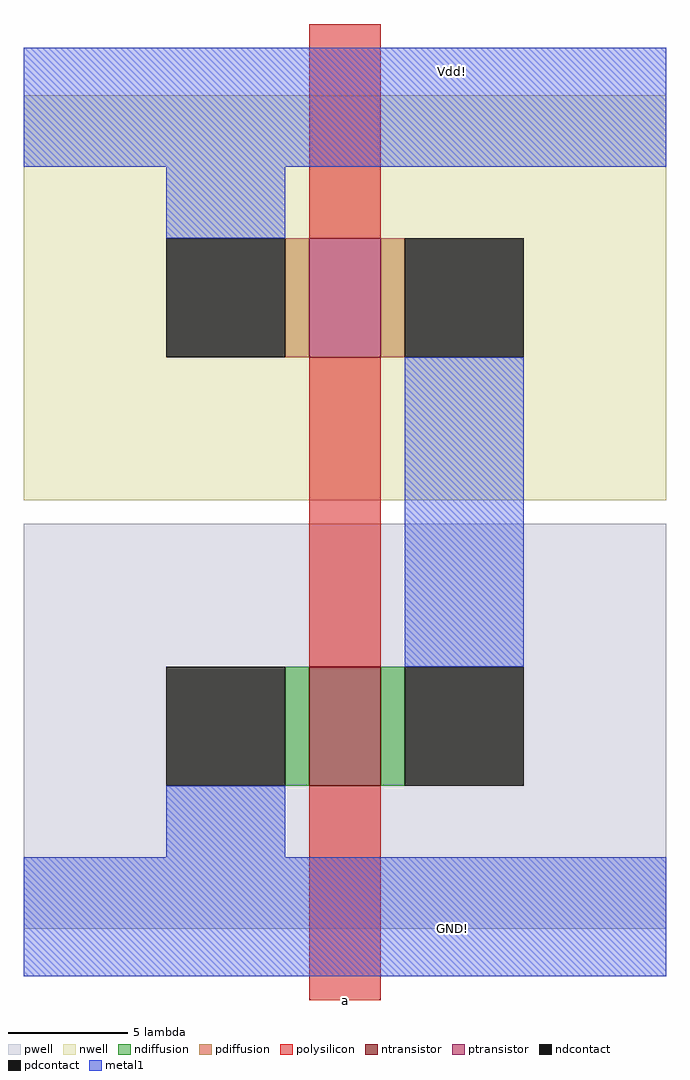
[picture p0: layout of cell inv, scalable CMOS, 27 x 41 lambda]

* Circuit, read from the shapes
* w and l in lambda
.subckt inv GND! Vdd! a
M1 n1 a GND! VSUBS nfet w=5 l=3
M2 n1 a Vdd! n2 pfet w=5 l=3
.ends

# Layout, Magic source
magic
tech scmos
<< nwell >>
rect -55 -6 -28 11
<< pwell >>
rect -55 -24 -28 -7
<< ntransistor >>
rect -43 -18 -40 -13
<< ptransistor >>
rect -43 0 -40 5
<< ndiffusion >>
rect -44 -18 -43 -13
rect -40 -18 -39 -13
<< pdiffusion >>
rect -44 0 -43 5
rect -40 0 -39 5
<< ndcontact >>
rect -49 -18 -44 -13
rect -39 -18 -34 -13
<< pdcontact >>
rect -49 0 -44 5
rect -39 0 -34 5
<< polysilicon >>
rect -43 5 -40 14
rect -43 -13 -40 0
rect -43 -27 -40 -18
<< metal1 >>
rect -55 8 -28 13
rect -49 5 -44 8
rect -39 -13 -34 0
rect -49 -21 -44 -18
rect -55 -26 -28 -21
<< labels >>
rlabel metal1 -37 -24 -37 -24 1 GND!
rlabel metal1 -37 12 -37 12 5 Vdd!
rlabel polysilicon -43 -27 -40 -27 1 a
<< end >>
